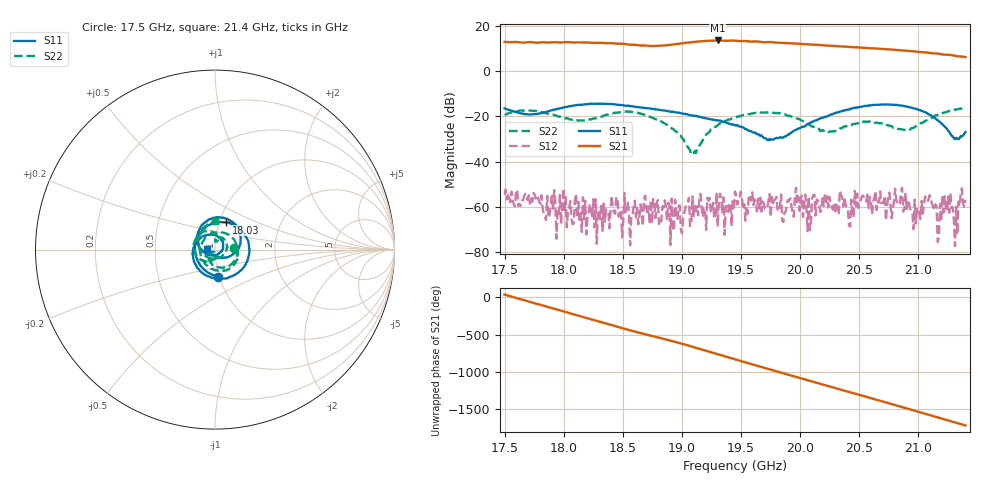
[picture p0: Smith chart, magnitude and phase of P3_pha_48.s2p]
!Created with skrf (http://scikit-rf.org).
# GHz S RI R 50.0
!freq ReS11 ImS11 ReS21 ImS21 ReS12 ImS12 ReS22 ImS22
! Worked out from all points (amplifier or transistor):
!   401 points, 17.5 GHz to 21.4 GHz, reference 50 ohm
!   highest |S21| = 13.7 dB at 19.3 GHz (marker M1)
!   |S21| within 3 dB of that: start of sweep to 20.48 GHz
!   unconditionally stable (mu >= 1): start of sweep to end of sweep
!   at 18.14 GHz: K = 152.90, MAG = 13.0 dB, |S12| = -62.8 dB
!   at 19.45 GHz: K = 47.81, MAG = 13.6 dB, |S12| = -53.3 dB
!   at 21.4 GHz: K = 164.24, MAG = 6.4 dB, |S12| = -56.9 dB
!   S11 on the Smith chart (normalised r, x): 17.5 GHz: 0.98, -0.30; 18.03 GHz: 1.08, +0.33; 21.4 GHz: 0.91, +0.01
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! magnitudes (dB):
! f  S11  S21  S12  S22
! 17.5 GHz  -16.4  13.0  -54.7  -19.4
! 18.03 GHz  -15.8  12.9  -69.1  -20.8
! 18.15 GHz  -14.8  12.8  -71.2  -21.9
! 18.81 GHz  -17.0  11.4  -67.6  -22.0
! 19.1 GHz  -19.6  13.0  -64.6  -36.2
! 19.3 GHz  -21.8  13.7  -68.8  -23.9
! 19.45 GHz  -23.8  13.5  -53.3  -20.3
! 19.74 GHz  -29.9  13.0  -54.3  -18.1
! 20.1 GHz  -22.3  11.8  -56.0  -24.5
! 20.36 GHz  -17.6  11.0  -55.7  -25.1
! 20.43 GHz  -16.5  10.7  -56.9  -23.8
! 20.53 GHz  -15.6  10.4  -55.0  -22.4
! 20.76 GHz  -14.8  9.7  -53.7  -24.2
! 20.87 GHz  -15.3  9.2  -62.1  -25.9
! 21 GHz  -17.0  8.6  -62.6  -23.8
! 21.08 GHz  -18.6  8.3  -57.7  -21.4
! 21.18 GHz  -22.2  7.8  -73.5  -19.1
! 21.2 GHz  -23.4  7.5  -54.9  -18.5
! 21.27 GHz  -27.7  7.2  -53.8  -17.5
! 21.31 GHz  -30.1  6.9  -77.4  -17.0
! 21.36 GHz  -28.7  6.6  -53.8  -16.5
! 21.4 GHz  -26.9  6.3  -56.9  -16.1
